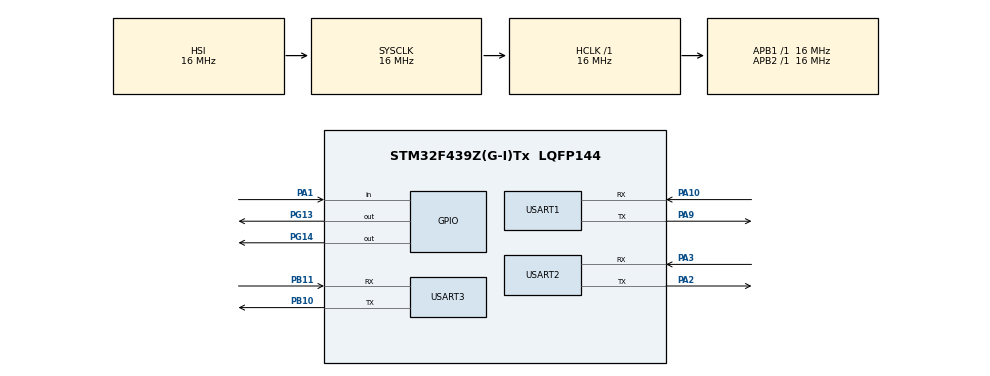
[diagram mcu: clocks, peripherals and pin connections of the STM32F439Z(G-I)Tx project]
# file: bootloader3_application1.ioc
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Mcu.Family=STM32F4
Mcu.Name=STM32F439Z(G-I)Tx
Mcu.Package=LQFP144
NVIC.PriorityGroup=NVIC_PRIORITYGROUP_4
PA1.Signal=GPIO_Input
PA10.Mode=Asynchronous
PA10.Signal=USART1_RX
PA2.Mode=Asynchronous
PA2.Signal=USART2_TX
PA3.Mode=Asynchronous
PA3.Signal=USART2_RX
PA9.Mode=Asynchronous
PA9.Signal=USART1_TX
PB10.Mode=Asynchronous
PB10.Signal=USART3_TX
PB11.Mode=Asynchronous
PB11.Signal=USART3_RX
PG13.Signal=GPIO_Output
PG14.Signal=GPIO_Output
ProjectManager.HeapSize=0x200
ProjectManager.StackSize=0x400
ProjectManager.TargetToolchain=STM32CubeIDE
RCC.AHBFreq_Value=16000000
RCC.APB1Freq_Value=16000000
RCC.APB2Freq_Value=16000000
RCC.CortexFreq_Value=16000000
RCC.HSE_VALUE=25000000
RCC.HSI_VALUE=16000000
RCC.LSE_VALUE=32768
RCC.SYSCLKFreq_VALUE=16000000
RCC.VCOOutputFreq_Value=192000000
USART1.VirtualMode=VM_ASYNC
USART2.VirtualMode=VM_ASYNC
USART3.VirtualMode=VM_ASYNC
VP_CRC_VS_CRC.Mode=CRC_Activate
board=custom

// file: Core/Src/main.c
/* USER CODE BEGIN Header */
/**
  ******************************************************************************
  * @file           : main.c
  * @brief          : Main program body
  ******************************************************************************
  * @attention
  *
  * Copyright (c) 2023 STMicroelectronics.
  * All rights reserved.
  *
  * This software is licensed under terms that can be found in the LICENSE file
  * in the root directory of this software component.
  * If no LICENSE file comes with this software, it is provided AS-IS.
  *
  ******************************************************************************
  */
/* USER CODE END Header */
#include "main.h"

/* USER CODE BEGIN Includes */
#include "bootloader_command_app.h"
#include "stdarg.h" // va_lis printf bu kütüphanede bulunuyor.
#include "stdio.h"
#include "string.h"
#include "bootloader_command_code.h"
/* USER CODE END Includes */

/* USER CODE BEGIN PD */
#define FLASH_SECTOR2_BASE_ADDRESS  0x08008000
#define FLASH_SECTOR2_BASE_ADDRESS2  0x08040000
#define BL_RX_DATA_LENGTH 266

/* USER CODE END PD */

CRC_HandleTypeDef hcrc;

UART_HandleTypeDef huart1;
UART_HandleTypeDef huart2;
UART_HandleTypeDef huart3;

/* USER CODE BEGIN PV */

uint8_t bootloader_rx_data[BL_RX_DATA_LENGTH]; //Pc den gelen komutlar burada toplanacak

/* USER CODE END PV */

void SystemClock_Config(void);
static void MX_GPIO_Init(void);
static void MX_USART1_UART_Init(void);
static void MX_USART2_UART_Init(void);
static void MX_USART3_UART_Init(void);
static void MX_CRC_Init(void);

/* USER CODE BEGIN 0 */

void printMessage(char *format, ...)
{
	char comingMessage[100];

	va_list vaList;
	va_start(vaList, format);
	vsprintf(comingMessage, format, vaList);
	HAL_UART_Transmit(&huart1, (uint8_t*)comingMessage, strlen(comingMessage), HAL_MAX_DELAY);
	va_end(vaList);
}
void bootloader_uart_data_read(void)
{
	uint8_t bl_rx_length = 0; // gelen data uzunluğu alınması için

	while(1)
	{
		memset(bootloader_rx_data, 0, BL_RX_DATA_LENGTH);

		// Pc'den ilk gelen byte length to follow old için size of 1 yazıldı.
		HAL_UART_Receive(&huart3, bootloader_rx_data, 1, HAL_MAX_DELAY);

		bl_rx_length = bootloader_rx_data[0];// gelecek verinin uzunluğu öğrenildi.

		// Pc'den gelen byte da length to follow değeri çıkarıldı. Command code ögrenildi. ...data[1] oldu.
		HAL_UART_Receive(&huart3, &bootloader_rx_data[1], bl_rx_length, HAL_MAX_DELAY);

		switch(bootloader_rx_data[1]) //command koda göre case gir.
		{
			case BL_GET_VER:
				bootloader_get_ver_cmd(bootloader_rx_data);
			break;
			case BL_GET_HELP:
				bootloader_get_help_cmd(bootloader_rx_data);
			case BL_GO_TO_ADDR:
				bootloader_go_to_addr_cmd(bootloader_rx_data);
			case BL_FLASH_ERASE:
				bootloader_flash_erase_cmd(bootloader_rx_data);
			break;
			case BL_MEM_WRITE:
				bootloader_mem_write_cmd(bootloader_rx_data);
				break;
			default:
				break;
		}
	}

}
void bootloader_jump_to_user_application(void)
{
	// 1- Sifirlama isleyicisinin adresini tutan bir fonksiyon göstericisi
		void (*bootloader_application_reset_handler)(void);
		// 2- Kullanici uygulamasina atlama kodu çagrildi
		printMessage("Bootloader : Called bootloader_jump_to_user_application() \n");
		// 3- MSP'nin degerini tut
		uint32_t mspValue = *(volatile uint32_t*) FLASH_SECTOR2_BASE_ADDRESS;
		printMessage("Bootloader : MSP Value: %#x \n", mspValue);
		//__set_MSP(mspValue);
		// 4- Sifirlama isleyicisinin degerini tut, MSP + 4 = reset handler
		uint32_t resetValue = *(volatile uint32_t*) (FLASH_SECTOR2_BASE_ADDRESS + 4);
		printMessage("Bootloader : Reset Value: %#x \n", resetValue);
		// 5- Sifirlama isleyicisi ile bir islev baslat
		bootloader_application_reset_handler = (void*) resetValue;
		// 6- Sifirlama isleyicisini çagir ve kullanici uygulamasina atla
		bootloader_application_reset_handler();

	}

void bootloader_jump_to_user_application2(void)
{
	// 1- Sifirlama isleyicisinin adresini tutan bir fonksiyon göstericisi
		void (*bootloader_application_reset_handler)(void);
		// 2- Kullanici uygulamasina atlama kodu çagrildi
		printMessage("Bootloader : Called bootloader_jump_to_user_application() \n");
		// 3- MSP'nin degerini tut
		uint32_t mspValue = *(volatile uint32_t*) FLASH_SECTOR2_BASE_ADDRESS2;
		printMessage("Bootloader : MSP Value: %#x \n", mspValue);
		//__set_MSP(mspValue);
		// 4- Sifirlama isleyicisinin degerini tut, MSP + 4 = reset handler
		uint32_t resetValue = *(volatile uint32_t*) (FLASH_SECTOR2_BASE_ADDRESS2 + 4);
		printMessage("Bootloader : Reset Value: %#x \n", resetValue);
		// 5- Sifirlama isleyicisi ile bir islev baslat
		bootloader_application_reset_handler = (void*) resetValue;
		// 6- Sifirlama isleyicisini çagir ve kullanici uygulamasina atla
		bootloader_application_reset_handler();

	}

/* USER CODE END 0 */

int main(void)
{

  /* MCU Configuration--------------------------------------------------------*/

  /* Reset of all peripherals, Initializes the Flash interface and the Systick. */
  HAL_Init();

  /* Configure the system clock */
  SystemClock_Config();

  /* Initialize all configured peripherals */
  MX_GPIO_Init();
  MX_USART1_UART_Init();
  MX_USART2_UART_Init();
  MX_USART3_UART_Init();
  MX_CRC_Init();
  /* USER CODE BEGIN 2 */
  HAL_GPIO_WritePin(GPIOG, GPIO_PIN_14,1);

	  if(HAL_GPIO_ReadPin(GPIOA, GPIO_PIN_0) == GPIO_PIN_SET)
	  {
		  printMessage("Bootloader : Button is pressed and going to bootloader mode.\n");

		  bootloader_uart_data_read();
	  }
	  else
	  {
		  printMessage("Bootloader : Button is not pressed and executing user application.\n");
		  HAL_Delay(3000);
		  bootloader_jump_to_user_application();
		  bootloader_jump_to_user_application2();

	  }

  /* USER CODE END 2 */

  /* Infinite loop */
  while (1)
  {

  }
}

void SystemClock_Config(void)
{
  RCC_OscInitTypeDef RCC_OscInitStruct = {0};
  RCC_ClkInitTypeDef RCC_ClkInitStruct = {0};

  /** Configure the main internal regulator output voltage
  */
  __HAL_RCC_PWR_CLK_ENABLE();
  __HAL_PWR_VOLTAGESCALING_CONFIG(PWR_REGULATOR_VOLTAGE_SCALE3);
  /** Initializes the RCC Oscillators according to the specified parameters
  * in the RCC_OscInitTypeDef structure.
  */
  RCC_OscInitStruct.OscillatorType = RCC_OSCILLATORTYPE_HSI;
  RCC_OscInitStruct.HSIState = RCC_HSI_ON;
  RCC_OscInitStruct.HSICalibrationValue = RCC_HSICALIBRATION_DEFAULT;
  RCC_OscInitStruct.PLL.PLLState = RCC_PLL_NONE;
  if (HAL_RCC_OscConfig(&RCC_OscInitStruct) != HAL_OK)
  {
    Error_Handler();
  }
  /** Initializes the CPU, AHB and APB buses clocks
  */
  RCC_ClkInitStruct.ClockType = RCC_CLOCKTYPE_HCLK|RCC_CLOCKTYPE_SYSCLK
                              |RCC_CLOCKTYPE_PCLK1|RCC_CLOCKTYPE_PCLK2;
  RCC_ClkInitStruct.SYSCLKSource = RCC_SYSCLKSOURCE_HSI;
  RCC_ClkInitStruct.AHBCLKDivider = RCC_SYSCLK_DIV1;
  RCC_ClkInitStruct.APB1CLKDivider = RCC_HCLK_DIV1;
  RCC_ClkInitStruct.APB2CLKDivider = RCC_HCLK_DIV1;

  if (HAL_RCC_ClockConfig(&RCC_ClkInitStruct, FLASH_LATENCY_0) != HAL_OK)
  {
    Error_Handler();
  }
}

static void MX_CRC_Init(void)
{

  hcrc.Instance = CRC;
  if (HAL_CRC_Init(&hcrc) != HAL_OK)
  {
    Error_Handler();
  }

}

static void MX_USART1_UART_Init(void)
{

  huart1.Instance = USART1;
  huart1.Init.BaudRate = 115200;
  huart1.Init.WordLength = UART_WORDLENGTH_8B;
  huart1.Init.StopBits = UART_STOPBITS_1;
  huart1.Init.Parity = UART_PARITY_NONE;
  huart1.Init.Mode = UART_MODE_TX_RX;
  huart1.Init.HwFlowCtl = UART_HWCONTROL_NONE;
  huart1.Init.OverSampling = UART_OVERSAMPLING_16;
  if (HAL_UART_Init(&huart1) != HAL_OK)
  {
    Error_Handler();
  }

}

static void MX_USART2_UART_Init(void)
{

  huart2.Instance = USART2;
  huart2.Init.BaudRate = 115200;
  huart2.Init.WordLength = UART_WORDLENGTH_8B;
  huart2.Init.StopBits = UART_STOPBITS_1;
  huart2.Init.Parity = UART_PARITY_NONE;
  huart2.Init.Mode = UART_MODE_TX_RX;
  huart2.Init.HwFlowCtl = UART_HWCONTROL_NONE;
  huart2.Init.OverSampling = UART_OVERSAMPLING_16;
  if (HAL_UART_Init(&huart2) != HAL_OK)
  {
    Error_Handler();
  }

}

static void MX_USART3_UART_Init(void)
{

  huart3.Instance = USART3;
  huart3.Init.BaudRate = 115200;
  huart3.Init.WordLength = UART_WORDLENGTH_8B;
  huart3.Init.StopBits = UART_STOPBITS_1;
  huart3.Init.Parity = UART_PARITY_NONE;
  huart3.Init.Mode = UART_MODE_TX_RX;
  huart3.Init.HwFlowCtl = UART_HWCONTROL_NONE;
  huart3.Init.OverSampling = UART_OVERSAMPLING_16;
  if (HAL_UART_Init(&huart3) != HAL_OK)
  {
    Error_Handler();
  }

}

static void MX_GPIO_Init(void)
{
  GPIO_InitTypeDef GPIO_InitStruct = {0};

  /* GPIO Ports Clock Enable */
  __HAL_RCC_GPIOA_CLK_ENABLE();
  __HAL_RCC_GPIOB_CLK_ENABLE();
  __HAL_RCC_GPIOG_CLK_ENABLE();

  /*Configure GPIO pin Output Level */
  HAL_GPIO_WritePin(GPIOG, GPIO_PIN_13|GPIO_PIN_14, GPIO_PIN_RESET);

  /*Configure GPIO pin : PA1 */
  GPIO_InitStruct.Pin = GPIO_PIN_1;
  GPIO_InitStruct.Mode = GPIO_MODE_INPUT;
  GPIO_InitStruct.Pull = GPIO_NOPULL;
  HAL_GPIO_Init(GPIOA, &GPIO_InitStruct);

  /*Configure GPIO pins : PG13 PG14 */
  GPIO_InitStruct.Pin = GPIO_PIN_13|GPIO_PIN_14;
  GPIO_InitStruct.Mode = GPIO_MODE_OUTPUT_PP;
  GPIO_InitStruct.Pull = GPIO_NOPULL;
  GPIO_InitStruct.Speed = GPIO_SPEED_FREQ_LOW;
  HAL_GPIO_Init(GPIOG, &GPIO_InitStruct);

}

/* USER CODE BEGIN 4 */
/*
static void goto_application(void ){
	printf("Gonna jump to Application 1\n");

	void (*app_reset_handler)(void) = (void*) ( *((volatile uint32_t *) (0x08040000 + 4U)));

	//__set_MSP( *(volatile uint32_t *) 0x08040000 );

	HAL_GPIO_WritePin (GPIOG, GPIO_PIN_13, 0);
	app_reset_handler();
}*/

/* USER CODE END 4 */

void Error_Handler(void)
{
  __disable_irq();
  while (1)
  {
  }
}
